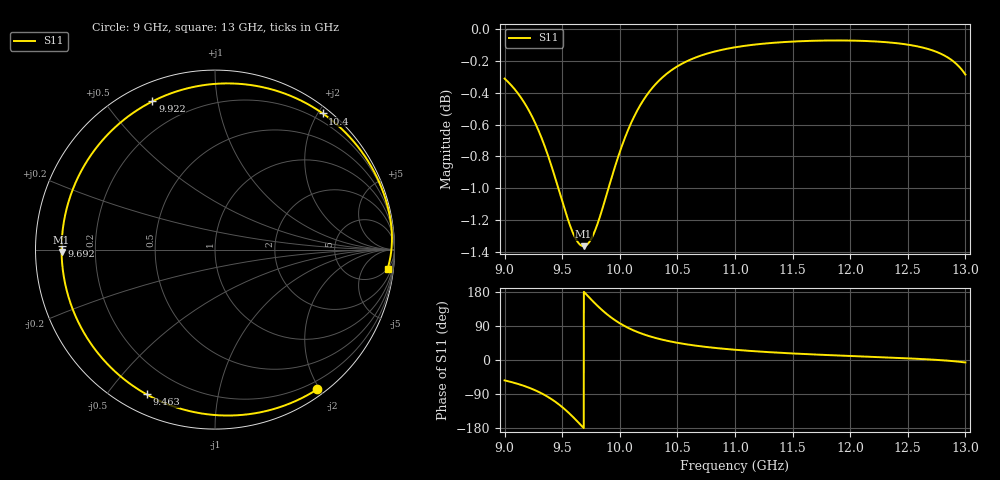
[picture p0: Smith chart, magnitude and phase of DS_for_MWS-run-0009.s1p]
! TOUCHSTONE file generated by CST DESIGN STUDIO
! Date and time: Tue Feb  4 18:23:14 2025
! Project name: C:\Work\MatlabApps\UnitCellOptimizationMatlab\CST\unitcell.cst
! Tree item: Tasks\Sweep1\SPara1\S-Parameters
! Header version: 2024
! Port assignment regex: !\s*Touchstone port\s*([0-9]+)\s*=\s*(CST MWS port|CST DES external port|CST DES block port)\s*(.+)\s* \(\"(.*)\"\)(\s*mode\s*([0-9]+))?.*
! Touchstone port assignment:
! Touchstone port 1 = CST DES external port 1 ("")
# GHz S MA R 50
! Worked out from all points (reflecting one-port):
!   4001 points, 9 GHz to 13 GHz, reference 50 ohm
!   lowest |S11| = -1.4 dB at 9.685 GHz (marker M1), VSWR 12.79, Z = 3.91 - j0.382 ohm
!   phase of S11 starts at -54 deg and turns -313 deg over the sweep
!   S11 on the Smith chart (normalised r, x): 9 GHz: 0.09, -1.97; 9.463 GHz: 0.08, -0.63; 9.692 GHz: 0.08, +0.01; 9.922 GHz: 0.08, +0.66; 10.4 GHz: 0.09, +2.06; 13 GHz: 5, -16
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9  0.9646 -53.8
9.122  0.9537 -63.7
9.239  0.9385 -76.4
9.364  0.9154 -95.2
9.463  0.8922 -115.3
9.5  0.8831 -124.2
9.551  0.8713 -137.9
9.603  0.8615 -153.1
9.645  0.8566 -166.3
9.685  0.8549 -179.1
9.692  0.855 178.6
9.75  0.8592 160.1
9.815  0.8705 140.4
9.868  0.8829 126.0
9.922  0.8965 112.9
10  0.915 96.9
10.091  0.933 82.0
10.184  0.9472 70.2
10.285  0.9585 60.2
10.397  0.9673 51.7
10.5  0.9732 45.4
10.719  0.9812 35.5
11  0.9866 27.0
11.5  0.9907 17.3
12  0.9914 10.6
12.5  0.9885 4.3
12.793  0.9819 -0.6
13  0.9674 -6.5
